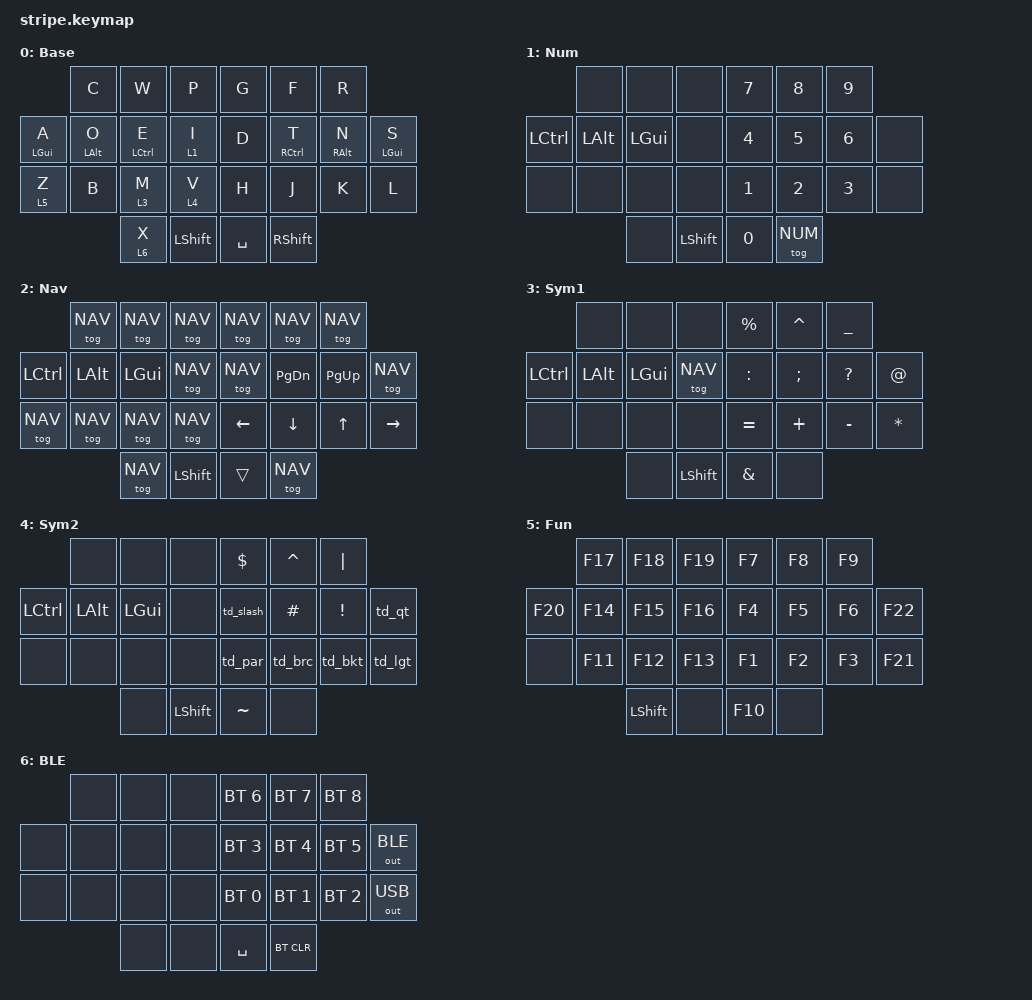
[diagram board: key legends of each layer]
#include <behaviors.dtsi>
#include <dt-bindings/zmk/keys.h>
#include <dt-bindings/zmk/bt.h>
#include <dt-bindings/zmk/outputs.h>

#define BASE 0
#define NUM 1
#define NAV 2
#define SYM1 3
#define SYM2 4
#define FUN 5
#define BLE 6


//                          ╭────────────────────────┬────────────────────────┬────────────────────────╮                             ╭────────────────────────┬────────────────────────┬────────────────────────┬────────────────────────╮
//                          | 0                      | 1                      | 2                      |                             | 3                      | 4                      | 5                      | 6                      | 
//                          |                    ╭────────╮               ╭────────╮                   |                             |                    ╭────────╮              ╭────────╮                ╭────────╮                   |
//                          |                    |        |               |   Y    |                   |                             |                    |        |              |        |                |        |                   |
//                          |                    ╰────────╯               ╰────────╯                   |                             |                    ╰────────╯              ╰────────╯                ╰────────╯                   |
//                          |     ╭────────────╮     |     ╭────────────╮     |     ╭────────────╮     |                             |     ╭────────────╮     |     ╭────────────╮     |     ╭────────────╮     |     ╭────────────╮     | 
// ╭────────────────────────|─────| COMMA      |─────┼─────| DOT        |─────┼─────| Q          |─────┤                             ├─────| DEL        |─────┼─────| ESC        |─────┼─────| TAB        |─────┼─────|            |─────┤
// | 7                      | 8   ╰────────────╯     | 9   ╰────────────╯     | 10  ╰────────────╯     |                             | 11  ╰────────────╯     | 12  ╰────────────╯     | 13  ╰────────────╯     | 14  ╰────────────╯     |
// |                        |                        |                        |                        |                             |                        |                        |                        |                        |
// |                   ╭────────╮               ╭────────╮               ╭────────╮                    |                             |                    ╭────────╮               ╭────────╮               ╭────────╮                   | 
// |                   |        |               |        |               |    U   |                    |                             |                    |        |               |        |               |        |                   |
// |                   ╰────────╯               ╰────────╯               ╰────────╯                    |                             |                    ╰────────╯               ╰────────╯               ╰────────╯                   |
// |     ╭────────────╮     |     ╭────────────╮     |     ╭────────────╮     |     ╭────────────╮     |                             |     ╭────────────╮     |     ╭────────────╮     |     ╭────────────╮     |     ╭────────────╮     |
// ├─────|            |─────┼─────|            |─────┼─────|            |─────┼─────| X          |─────┤                             ├─────| BSPACE     |─────┼─────| RET        |─────┼─────|            |─────┼─────|            |─────┤
// | 15  ╰────────────╯     | 16  ╰────────────╯     | 17  ╰────────────╯     | 18  ╰────────────╯     |                             | 19  ╰────────────╯     | 20  ╰────────────╯     | 21  ╰────────────╯     | 22  ╰────────────╯     |
// |                        |                        |                        |                        |                             |                        |                        |                        |                        |
// |                   ╭────────╮               ╭────────╮               ╭────────╮                    |                             |                    ╭────────╮               ╭────────╮               ╭────────╮                   | 
// |                   |        |               |        |               |        |                    |                             |                    |        |               |        |               |        |                   |
// |                   ╰────────╯               ╰────────╯               ╰────────╯                    |                             |                    ╰────────╯               ╰────────╯               ╰────────╯                   |
// |                        |                        |                        |                        |                             |                        |                        |                        |                        |
// ╰────────────────────────┼────────────────────────┼────────────────────────┼────────────────────────┤                             ├────────────────────────┼────────────────────────┼────────────────────────┼────────────────────────╯
//                                                   | 23                     | 24                     |                             | 25                     | 26                     |
//                                                   |                        |                        |                             |                        |                        |
//                                                   |                        |                        |                             |                        |                        |
//                                                   |                        |                        |                             |                        |                        |
//                                                   |                        |                        |                             |                        |                        |
//                                                   ╰────────────────────────┴────────────────────────╯                             ╰────────────────────────┴────────────────────────╯


/ {
    combos {
        compatible = "zmk,combos";
        // Letters
        combo_Y {
            timeout-ms = <50>;
            key-positions = <1 2>;
            bindings = <&kp Y>;
        };
        combo_U {
            timeout-ms = <50>;
            key-positions = <9 10>;
            bindings = <&kp U>;
        };
        combo_Q {
            timeout-ms = <50>;
            key-positions = <2 10>;
            bindings = <&kp Q>;
        };
        combo_COMMA {
            timeout-ms = <50>;
            key-positions = <0 8>;
            bindings = <&kp COMMA>;
        };
        combo_DOT {
            timeout-ms = <50>;
            key-positions = <1 9>;
            bindings = <&kp DOT>;
        };
        combo_TAB {
            timeout-ms = <50>;
            key-positions = <5 13>;
            bindings = <&kp TAB>;
        };
        // FUNCTIONS
        combo_DEL {
            timeout-ms = <50>;
            key-positions = <3 11>;
            bindings = <&kp DEL>;
        };
        combo_BSPACE {
            timeout-ms = <50>;
            key-positions = <11 19>;
            bindings = <&kp BSPC>;
        };
        combo_RET {
            timeout-ms = <50>;
            key-positions = <12 20>;
            bindings = <&kp RET>;
        };
        combo_ESC {
            timeout-ms = <50>;
            key-positions = <4 12>;
            bindings = <&kp ESC>;
        };
        combo_nav {
            timeout-ms = <50>;
            key-positions = <19 20 21 22>;
            bindings = <&tog NAV>;
        };
    };
    behaviors {
        td_num:  tap_dance_0{
            compatible = "zmk,behavior-tap-dance";
            #binding-cells = <0>;
            tapping-term-ms = <300>;
            bindings = <&sl 5>, <&sl 6>;
        };
        td_brc:  tap_dance_brc{
            compatible = "zmk,behavior-tap-dance";
            #binding-cells = <0>;
            tapping-term-ms = <300>;
            bindings = <&kp LBRC>, <&kp RBRC>;
        };
        td_bkt:  tap_dance_bkt{
            compatible = "zmk,behavior-tap-dance";
            #binding-cells = <0>;
            tapping-term-ms = <300>;
            bindings = <&kp LBKT>, <&kp RBKT>;
        };
        td_par:  tap_dance_par{
            compatible = "zmk,behavior-tap-dance";
            #binding-cells = <0>;
            tapping-term-ms = <300>;
            bindings = <&kp LPAR>, <&kp RPAR>;
        };
        td_lgt:  tap_dance_lgt{
            compatible = "zmk,behavior-tap-dance";
            #binding-cells = <0>;
            tapping-term-ms = <300>;
            bindings = <&kp LT>, <&kp GT>;
        };
        td_slash:  tap_dance_slash{
            compatible = "zmk,behavior-tap-dance";
            #binding-cells = <0>;
            tapping-term-ms = <300>;
            bindings = <&kp SLASH>, <&kp BACKSLASH>;
        };
        td_qt:  tap_dance_qt{
            compatible = "zmk,behavior-tap-dance";
            #binding-cells = <0>;
            tapping-term-ms = <300>;
            bindings = <&kp SQT>, <&kp DQT>;
        };
        lht: left_positional_hold_tap {
             compatible = "zmk,behavior-hold-tap";
             #binding-cells = <2>;
             flavor = "tap-preferred";
             tapping-term-ms = <300>;                        // <---[[produces tap if held longer than tapping-term-ms]]
             quick-tap-ms = <200>;
             require-prior-idle-ms = <125>;
             bindings = <&kp>, <&kp>;
             //hold-trigger-key-positions = < 6 7 8 9 10 18 19 20 21 22 30 31 32 33 34 39 40 41 >;    // <---[[Right-hand keys]]
        };
        rht: right_positional_hold_tap {
             compatible = "zmk,behavior-hold-tap";
             #binding-cells = <2>;
             flavor = "tap-preferred";
             tapping-term-ms = <300>;                        // <---[[produces tap if held longer than tapping-term-ms]]
             quick-tap-ms = <200>;
             require-prior-idle-ms = <125>;
             bindings = <&kp>, <&kp>;
             //hold-trigger-key-positions = < 1 2 3 4 5 13 14 15 16 17 25 26 27 28 29 36 37 38 >;    // <---[[Left-hand keys]]
        };
        mlt: momentary_layer_tap {
             compatible = "zmk,behavior-hold-tap";
             #binding-cells = <2>;
             flavor = "tap-preferred";
             tapping-term-ms = <300>;                        // <---[[produces tap if held longer than tapping-term-ms]]
             quick-tap-ms = <200>;
             require-prior-idle-ms = <125>;
             bindings = <&mo>, <&kp>;
             //hold-trigger-key-positions = < 1 2 3 4 5 13 14 15 16 17 25 26 27 28 29 36 37 38 >;    // <---[[Left-hand keys]]
        };
    };
    keymap {
        compatible = "zmk,keymap";

        base_layer {
            display-name = "Base";
            bindings = <
//                          ╭────────────────────────┬────────────────────────┬────────────────────────╮             ╭────────────────────────┬────────────────────────┬────────────────────────╮                          
                              &kp C                    &kp W                    &kp P                                  &kp G                    &kp F                    &kp R                    
// ╭────────────────────────┼────────────────────────┼────────────────────────┼────────────────────────┤             ├────────────────────────┼────────────────────────┼────────────────────────┼───────────────────────╮
     &lht LGUI A              &lht LALT O              &lht LCTRL E             &mlt 1 I                               &kp D                    &rht RCTRL T             &rht RALT N              &rht LGUI S
// ├────────────────────────┼────────────────────────┼────────────────────────┼────────────────────────┤             ├────────────────────────┼────────────────────────┼────────────────────────┼───────────────────────┤
     &mlt 5 Z                 &kp B                    &mlt 3 M                 &mlt 4 V                               &kp H                    &kp J                    &kp K                    &kp L
// ╰────────────────────────┴────────────────────────┴────────────────────────┴────────────────────────┤             ├────────────────────────┼────────────────────────┼────────────────────────┴───────────────────────╯
                                                       &mlt 6 X                 &kp LSHFT                              &kp SPC                  &kp RSHFT
//                                                   ╰────────────────────────┴────────────────────────╯             ╰────────────────────────┴────────────────────────╯                           
            >;
        };

        Num_layer {
            display-name = "Num";
            bindings = <
//                          ╭────────────────────────┬────────────────────────┬────────────────────────╮             ╭────────────────────────┬────────────────────────┬────────────────────────╮                          
                              &none                    &none                    &none                                  &kp N7                   &kp N8                   &kp N9                   
// ╭────────────────────────┼────────────────────────┼────────────────────────┼────────────────────────┤             ├────────────────────────┼────────────────────────┼────────────────────────┼───────────────────────╮
     &kp LCTRL                &kp LALT                 &kp LGUI                 &none                                  &kp N4                   &kp N5                   &kp N6                   &none       
// ├────────────────────────┼────────────────────────┼────────────────────────┼────────────────────────┤             ├────────────────────────┼────────────────────────┼────────────────────────┼───────────────────────┤
     &none                    &none                    &none                    &none                                  &kp N1                   &kp N2                   &kp N3                   &none    
// ╰────────────────────────┴────────────────────────┴────────────────────────┴────────────────────────┤             ├────────────────────────┼────────────────────────┼────────────────────────┴───────────────────────╯
                                                       &none                    &kp LSHFT                              &kp N0                   &tog NUM
//                                                   ╰────────────────────────┴────────────────────────╯             ╰────────────────────────┴────────────────────────╯                           

            >;
        };
        
        Nav_layer {
            display-name = "Nav";
            bindings = <
//                          ╭────────────────────────┬────────────────────────┬────────────────────────╮             ╭────────────────────────┬────────────────────────┬────────────────────────╮                          
                              &tog NAV                 &tog NAV                 &tog NAV                               &tog NAV                 &tog NAV                 &tog NAV                 
// ╭────────────────────────┼────────────────────────┼────────────────────────┼────────────────────────┤             ├────────────────────────┼────────────────────────┼────────────────────────┼───────────────────────╮
     &kp LCTRL                &kp LALT                 &kp LGUI                 &tog NAV                               &tog NAV                 &kp PG_DN                &kp PG_UP                &tog NAV    
// ├────────────────────────┼────────────────────────┼────────────────────────┼────────────────────────┤             ├────────────────────────┼────────────────────────┼────────────────────────┼───────────────────────┤
     &tog NAV                 &tog NAV                 &tog NAV                 &tog NAV                               &kp LEFT                 &kp DOWN                 &kp UP                   &kp RIGHT 
// ╰────────────────────────┴────────────────────────┴────────────────────────┴────────────────────────┤             ├────────────────────────┼────────────────────────┼────────────────────────┴───────────────────────╯
                                                       &tog NAV                 &kp LSHFT                              &trans                   &tog NAV 
//                                                   ╰────────────────────────┴────────────────────────╯             ╰────────────────────────┴────────────────────────╯                           
            >;
        };
        Sym1_layer {
            display-name = "Sym1";
            bindings = <
//                          ╭────────────────────────┬────────────────────────┬────────────────────────╮             ╭────────────────────────┬────────────────────────┬────────────────────────╮                          
                              &none                    &none                    &none                                  &kp PERCENT              &kp CARET                &kp UNDERSCORE           
// ╭────────────────────────┼────────────────────────┼────────────────────────┼────────────────────────┤             ├────────────────────────┼────────────────────────┼────────────────────────┼───────────────────────╮
     &kp LCTRL                &kp LALT                 &kp LGUI                 &tog NAV                               &kp COLON                &kp SEMI                 &kp QMARK                &kp AT      
// ├────────────────────────┼────────────────────────┼────────────────────────┼────────────────────────┤             ├────────────────────────┼────────────────────────┼────────────────────────┼───────────────────────┤
     &none                    &none                    &none                    &none                                  &kp EQUAL                &kp PLUS                 &kp MINUS                &kp ASTERISK
// ╰────────────────────────┴────────────────────────┴────────────────────────┴────────────────────────┤             ├────────────────────────┼────────────────────────┼────────────────────────┴───────────────────────╯
                                                       &none                    &kp LSHFT                              &kp AMPERSAND            &none    
//                                                   ╰────────────────────────┴────────────────────────╯             ╰────────────────────────┴────────────────────────╯                           
            >;
        };

        Sym2_layer {
            display-name = "Sym2";
            bindings = <
//                          ╭────────────────────────┬────────────────────────┬────────────────────────╮             ╭────────────────────────┬────────────────────────┬────────────────────────╮                          
                              &none                    &none                    &none                                  &kp DOLLAR               &kp CARET                &kp PIPE                 
// ╭────────────────────────┼────────────────────────┼────────────────────────┼────────────────────────┤             ├────────────────────────┼────────────────────────┼────────────────────────┼───────────────────────╮
     &kp LCTRL                &kp LALT                 &kp LGUI                 &none                                  &td_slash                &kp POUND                &kp EXCLAMATION          &td_qt      
// ├────────────────────────┼────────────────────────┼────────────────────────┼────────────────────────┤             ├────────────────────────┼────────────────────────┼────────────────────────┼───────────────────────┤
     &none                    &none                    &none                    &none                                  &td_par                  &td_brc                  &td_bkt                  &td_lgt     
// ╰────────────────────────┴────────────────────────┴────────────────────────┴────────────────────────┤             ├────────────────────────┼────────────────────────┼────────────────────────┴───────────────────────╯
                                                       &none                    &kp LSHFT                              &kp TILDE                &none    
//                                                   ╰────────────────────────┴────────────────────────╯             ╰────────────────────────┴────────────────────────╯                           
            >;
        };
        Fun_layer {
            display-name = "Fun";
            bindings = <
//                          ╭────────────────────────┬────────────────────────┬────────────────────────╮             ╭────────────────────────┬────────────────────────┬────────────────────────╮                          
                              &kp F17                  &kp F18                  &kp F19                                &kp F7                   &kp F8                   &kp F9                   
// ╭────────────────────────┼────────────────────────┼────────────────────────┼────────────────────────┤             ├────────────────────────┼────────────────────────┼────────────────────────┼───────────────────────╮
     &kp F20                  &kp F14                  &kp F15                  &kp F16                                &kp F4                   &kp F5                   &kp F6                   &kp F22      
// ├────────────────────────┼────────────────────────┼────────────────────────┼────────────────────────┤             ├────────────────────────┼────────────────────────┼────────────────────────┼───────────────────────┤
     &none                    &kp F11                  &kp F12                  &kp F13                                &kp F1                   &kp F2                   &kp F3                   &kp F21   
// ╰────────────────────────┴────────────────────────┴────────────────────────┴────────────────────────┤             ├────────────────────────┼────────────────────────┼────────────────────────┴───────────────────────╯
                                                       &kp LSHFT                &none                                  &kp F10                  &none   
//                                                   ╰────────────────────────┴────────────────────────╯             ╰────────────────────────┴────────────────────────╯                           
            >;
        };
        
        BLE_layer {
            display-name = "BLE";
            bindings = <
//                          ╭────────────────────────┬────────────────────────┬────────────────────────╮             ╭────────────────────────┬────────────────────────┬────────────────────────╮                          
                              &none                    &none                    &none                                  &bt BT_SEL 6             &bt BT_SEL 7             &bt BT_SEL 8            
// ╭────────────────────────┼────────────────────────┼────────────────────────┼────────────────────────┤             ├────────────────────────┼────────────────────────┼────────────────────────┼───────────────────────╮
     &none                    &none                    &none                    &none                                  &bt BT_SEL 3             &bt BT_SEL 4             &bt BT_SEL 5             &out OUT_BLE
// ├────────────────────────┼────────────────────────┼────────────────────────┼────────────────────────┤             ├────────────────────────┼────────────────────────┼────────────────────────┼───────────────────────┤
     &none                    &none                    &none                    &none                                  &bt BT_SEL 0             &bt BT_SEL 1             &bt BT_SEL 2             &out OUT_USB
// ╰────────────────────────┴────────────────────────┴────────────────────────┴────────────────────────┤             ├────────────────────────┼────────────────────────┼────────────────────────┴───────────────────────╯
                                                       &none                    &none                                  &kp SPC                  &bt BT_CLR
//                                                   ╰────────────────────────┴────────────────────────╯             ╰────────────────────────┴────────────────────────╯                           
            >;
        };
    };
};

